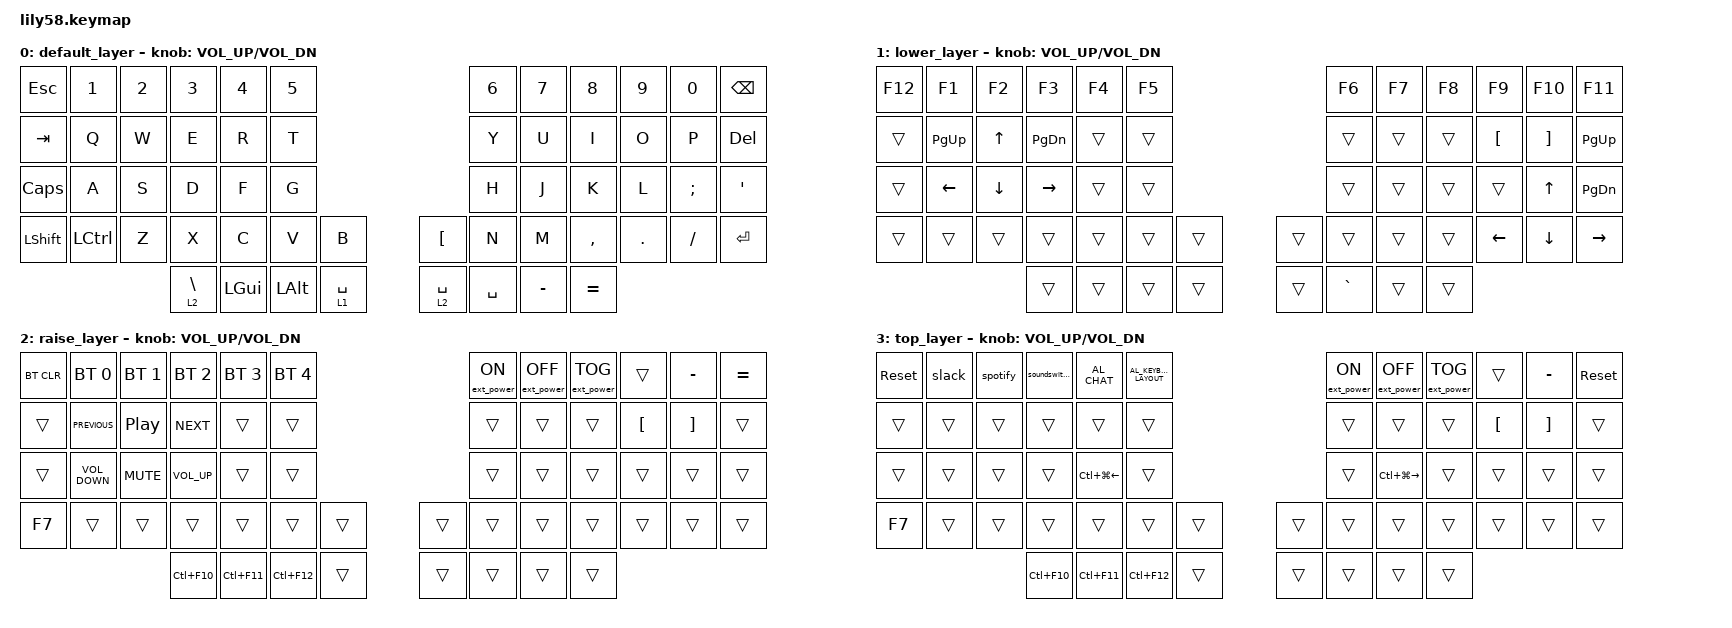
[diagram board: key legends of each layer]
/*
 * Copyright (c) 2020 The ZMK Contributors
 *
 * SPDX-License-Identifier: MIT
 */
#include <behaviors.dtsi>
#include <dt-bindings/zmk/keys.h>
#include <dt-bindings/zmk/bt.h>
#include <dt-bindings/zmk/ext_power.h>
#define default 0
#define lower   1
#define raise   2
#define top 3

/ {
    conditional_layers {
        compatible = "zmk,conditional-layers";
        tri_layer {
            if-layers = <1 2>;
            then-layer = <3>;
        };
    };
};
/ {
    macros {
        slack: slack {
            compatible = "zmk,behavior-macro";
            #binding-cells = <0>;
            wait-ms = <20>;
            bindings
                = <&macro_tap &kp LGUI>
                , <&macro_wait_time 200>
                , <&macro_wait_time 0>
                , <&macro_tap &kp SPACE &kp S &kp L &kp A &kp C &kp K &kp RIGHT &kp ENTER>
                ;
        };
    };
};
/ {
    macros {
        spotify: spotify {
            compatible = "zmk,behavior-macro";
            #binding-cells = <0>;
            wait-ms = <20>;
            bindings
                = <&macro_tap &kp LGUI>
                , <&macro_wait_time 200>
                , <&macro_wait_time 0>
                , <&macro_tap &kp SPACE &kp S &kp P &kp O &kp T &kp I &kp F &kp Y &kp ENTER>
                ;
        };
    };
};
/ {
    macros {
        soundswitch: soundswitch {
            compatible = "zmk,behavior-macro";
            #binding-cells = <0>;
            wait-ms = <20>;
            bindings
                = <&macro_tap &kp LGUI>
                , <&macro_wait_time 200>
                , <&macro_wait_time 0>
                , <&macro_tap &kp SPACE &kp S &kp O &kp U &kp N &kp D &kp S &kp W &kp I &kp T &kp C &kp H &kp ENTER>
                ;
        };
    };
};
/ {
    keymap {
        compatible = "zmk,keymap";

        default_layer {
// ------------------------------------------------------------------------------------------------------------
// |  ESC  |  1  |  2  |  3   |  4   |  5   |                   |  6   |  7    |  8    |  9   |   0   |  BSPC |
// |  TAB  |  Q  |  W  |  E   |  R   |  T   |                   |  Y   |  U    |  I    |  O   |   P   |   -   |
// |  CTRL |  A  |  S  |  D   |  F   |  G   |                   |  H   |  J    |  K    |  L   |   ;   |   '   |
// | SHIFT |  Z  |  X  |  C   |  V   |  B   |   "["  |  |  "]"  |  N   |  M    |  ,    |  .   |   /   | ENTER |
//                     | ALT  | GUI  | LOWER|  LOWER |  | SPACE | RAISE| BSPC  | GUI   |
            bindings = <
&kp ESC   &kp N1 &kp N2 &kp N3   &kp N4   &kp N5                     &kp N6 &kp N7   &kp N8    &kp N9  &kp N0   &kp BSPC
&kp TAB   &kp Q  &kp W  &kp E    &kp R    &kp T                      &kp Y  &kp U    &kp I     &kp O   &kp P    &kp DELETE
&kp CAPS  &kp A  &kp S  &kp D    &kp F    &kp G                      &kp H  &kp J    &kp K     &kp L   &kp SEMI &kp SQT
&kp LSHIFT &kp LCTRL  &kp Z  &kp X    &kp C    &kp V  &kp B   &kp LBKT &kp N  &kp M    &kp COMMA &kp DOT &kp FSLH &kp RET
                        &lt 2 BSLH &kp LGUI &kp LALT &lt 1 SPACE  &lt 2 SPACE  &kp SPACE  &kp MINUS &kp EQUAL
            >;

            sensor-bindings = <&inc_dec_kp C_VOL_UP C_VOL_DN>;
        };

        lower_layer {
// ------------------------------------------------------------------------------------------------------------
// | BTCLR | F1 | F2 |  F3 |  F4 | F5 |                   |   F6  |   F7   |   F8   |  F9  |   F10  |       |
// |       |      |  UP  |      |      |      |                   |  F7  |  F8   |  F9   |  F10 |  F11  |  F12  |
// |       | LEFT | DOWN |  RIGHT  |      |      |                   |      |  &    |  *    |  (   |   )   |   ~   |
// |       |      |      |         |      |      |        |  |       |      |  _    |  +    |  {   |   }   |  "|"  |
//                     |      |      |      |        |  |       |      |       |       |
            bindings = <
&kp F12    &kp F1      &kp F2   &kp F3    &kp F4  &kp F5                                           &kp F6    &kp F7    &kp F8    &kp F9    &kp F10    &kp F11
&trans     &kp PG_UP   &kp UP   &kp PG_DN &trans  &trans                                           &trans    &trans    &trans    &kp LBKT    &kp RBKT &kp PG_UP
&trans     &kp LEFT    &kp DOWN &kp RIGHT &trans  &trans                                           &trans    &trans    &trans    &trans    &kp UP     &kp PG_DN
&trans     &trans   &trans    &trans   &trans  &trans    &trans                          &trans &trans    &trans    &trans    &kp LEFT    &kp DOWN    &kp RIGHT
                                       &trans  &trans    &trans   &trans    &trans    &kp GRAVE &trans    &trans
            >;

            sensor-bindings = <&inc_dec_kp C_VOL_UP C_VOL_DN>;
        };

        raise_layer {
// ------------------------------------------------------------------------------------------------------------
// |       |     |     |      |      |      |                   |      |       |       |      |       |       |
// |   `   |  1  |  2  |  3   |  4   |  5   |                   |  6   |   7   |   8   |  9   |   0   |       |
// |   F1  |  F2 |  F3 |  F4  |  F5  |  F6  |                   |      |   <-  |   v   |  ^   |  ->   |       |
// |   F7  |  F8 |  F9 |  F10 |  F11 |  F12 |        |  |       |  +   |   -   |   =   |  [   |   \   |   \   |
//                     |      |      |      |        |  |       |      |       |       |
            bindings = <
&bt BT_CLR  &bt BT_SEL 0          &bt BT_SEL 1             &bt BT_SEL 2      &bt BT_SEL 3 &bt BT_SEL 4                  &ext_power EP_ON  &ext_power EP_OFF &ext_power EP_TOG    &trans    &kp MINUS    &kp EQUAL
&trans      &kp C_PREVIOUS        &kp C_PLAY_PAUSE         &kp C_NEXT        &trans  &trans                             &trans           &trans           &trans           &kp LBKT   &kp RBKT    &trans
&trans      &kp C_VOLUME_DOWN     &kp C_MUTE               &kp C_VOLUME_UP   &trans  &trans                             &trans           &trans           &trans           &trans     &trans      &trans
&kp F7      &trans &trans &trans  &trans                   &trans      &trans    &trans      &trans       &trans        &trans           &trans  &trans  &trans
                              &kp LC(F10)  &kp LC(F11)  &kp LC(F12)  &trans   &trans    &trans      &trans    &trans
            >;
            sensor-bindings = <&inc_dec_kp C_VOL_UP C_VOL_DN>;
        };
        top_layer {
// ------------------------------------------------------------------------------------------------------------
// |       |     |     |      |      |      |                   |      |       |       |      |       |       |
// |   `   |  1  |  2  |  3   |  4   |  5   |                   |  6   |   7   |   8   |  9   |   0   |       |
// |   F1  |  F2 |  F3 |  F4  |  F5  |  F6  |                   |      |   <-  |   v   |  ^   |  ->   |       |
// |   F7  |  F8 |  F9 |  F10 |  F11 |  F12 |        |  |       |  +   |   -   |   =   |  [   |   \   |   \   |
//                     |      |      |      |        |  |       |      |       |       |
            bindings = <
&sys_reset      &slack        &spotify            &soundswitch       &kp C_AL_CHAT   &kp C_AL_KEYBOARD_LAYOUT      &ext_power EP_ON  &ext_power EP_OFF &ext_power EP_TOG    &trans    &kp MINUS    &sys_reset
&trans          &trans     &trans      &trans        &trans          &trans                        &trans           &trans           &trans           &kp LBKT   &kp RBKT    &trans
&trans          &trans     &trans      &trans        &kp LC(LG(LEFT))         &trans               &trans           &kp LC(LG(RIGHT))          &trans           &trans     &trans      &trans
&kp F7          &trans &trans &trans  &trans                   &trans      &trans    &trans        &trans       &trans        &trans           &trans  &trans  &trans
                              &kp LC(F10)  &kp LC(F11)  &kp LC(F12)  &trans   &trans    &trans      &trans    &trans
            >;
            sensor-bindings = <&inc_dec_kp C_VOL_UP C_VOL_DN>;
        };
    };
};
